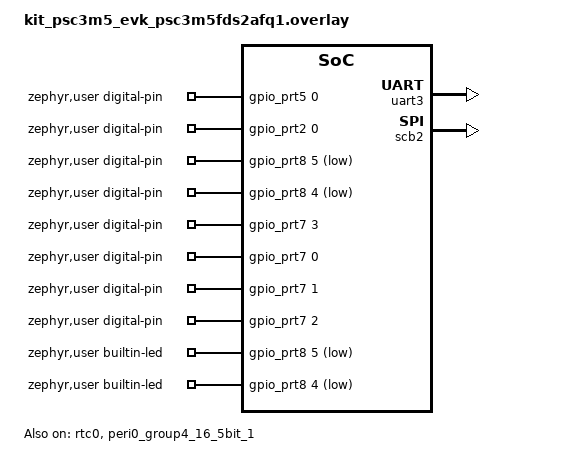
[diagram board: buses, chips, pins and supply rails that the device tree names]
/*
 * Copyright (c) Arduino s.r.l. and/or its affiliated companies
 *
 * SPDX-License-Identifier: Apache-2.0
 */

/*
 * Minimal Arduino overlay for the Infineon KIT_PSC3M5_EVK.
 *
 * This board defines real GPIOs and the UART node in the upstream Zephyr DTS:
 * - user LED aliases: user_led0 -> GPIO port 8 pin 5, user_led1 -> GPIO port 8 pin 4
 * - user buttons: SW_1 -> GPIO port 5 pin 0, SW_2 -> GPIO port 2 pin 0
 * - serial console: uart3 -> scb3 on pins P6_3/P6_2
 * - Arduino SPI header: scb2 on P7.0/P7.1/P7.2, with P7.3 as GPIO chip select
 *
 * The board has Uno R3-compatible headers, but the upstream DTS does not define
 * Arduino pin aliases. This variant maps its selected GPIOs and SCB2 SPI route.
 */

&flash0 {
	partitions {
		compatible = "fixed-partitions";
		#address-cells = <1>;
		#size-cells = <1>;

		/* Offset within flash0; keep the first 128 KiB for the loader. */
		user_sketch: partition@20000 {
			label = "user_sketch";
			reg = <0x20000 DT_SIZE_K(56)>;
		};
	};
};

/ {
	zephyr,user {
		digital-pin-gpios = <&gpio_prt5 0 0>,               /* D0 / SW_1 */
				   <&gpio_prt2 0 0>,               /* D1 / SW_2 */
				   <&gpio_prt8 5 GPIO_ACTIVE_LOW>, /* D2 / LED_0 */
				   <&gpio_prt8 4 GPIO_ACTIVE_LOW>, /* D3 / LED_1 */
				   <&gpio_prt7 3 0>,               /* D4 / SPI SS (J3.3) */
				   <&gpio_prt7 0 0>,               /* D5 / SPI SCK (J3.6) */
				   <&gpio_prt7 1 0>,               /* D6 / SPI MOSI (J3.4) */
				   <&gpio_prt7 2 0>;               /* D7 / SPI MISO (J3.5) */

		builtin-led-gpios = <&gpio_prt8 5 GPIO_ACTIVE_LOW>,
				    <&gpio_prt8 4 GPIO_ACTIVE_LOW>;

		serials = <&uart3>;
		cans = <&can1>;
		spis = <&scb2>;
	};
};

&uart3 {
	status = "okay";
};

&rtc0 {
	status = "okay";
};

&gpio_prt7 {
	status = "okay";
};

/* SPI changes its divider at runtime; keep CAN on its own divider. */
&peri0_group4_16_5bit_1 {
	status = "okay";
	clock-div = <1>;
};

&scb2 {
	compatible = "infineon,spi";
	#address-cells = <1>;
	#size-cells = <0>;
	status = "okay";
	clocks = <&peri0_group4_16_5bit_1>;
	pinctrl-0 = <&p7_0_scb2_spi_m_clk &p7_1_scb2_spi_m_mosi
		     &p7_2_scb2_spi_m_miso>;
	pinctrl-names = "default";
};

&p7_0_scb2_spi_m_clk {
	drive-push-pull;
};

&p7_1_scb2_spi_m_mosi {
	drive-push-pull;
};

&p7_2_scb2_spi_m_miso {
	input-enable;
};
